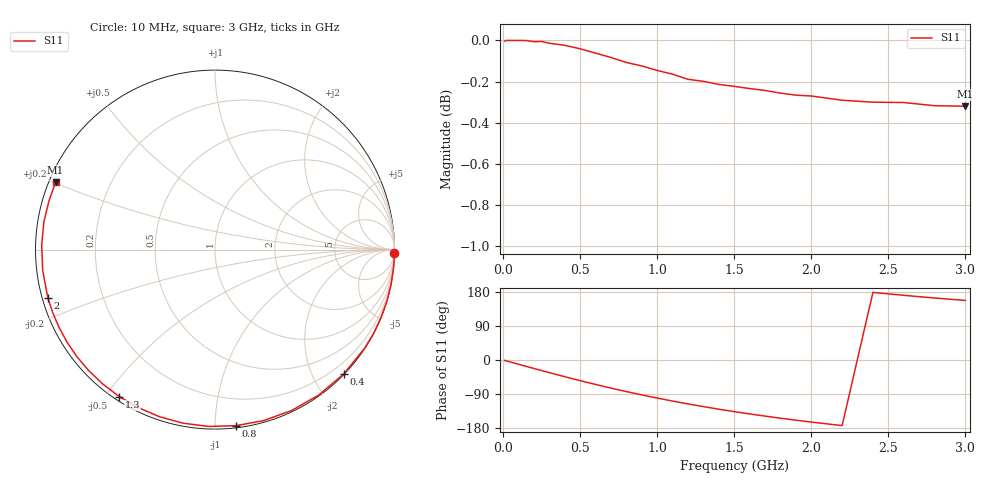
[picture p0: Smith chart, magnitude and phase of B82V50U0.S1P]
! SIEMENS Discrete & RF Semiconductors
! BBY53-03W
! Si Tuning Diode in SOD323
! VR = 2.5 V
! S-Parameters:  May  1997
# GHz  S  MA  R  50
!  f  S11
! GHz  MAG  ANG
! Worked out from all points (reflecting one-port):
!   30 points, 10 MHz to 3 GHz, reference 50 ohm
!   lowest |S11| = -0.3 dB at 3 GHz (marker M1), VSWR 54.33, Z = 0.958 + j10.1 ohm
!   phase of S11 starts at -1 deg and turns -202 deg over the sweep
!   S11 on the Smith chart (normalised r, x): 10 MHz: 2, -95; 400 MHz: 0.01, -2.47; 800 MHz: 0.01, -1.12; 1.3 GHz: 0.01, -0.54; 2 GHz: 0.02, -0.14; 3 GHz: 0.02, +0.20
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0.01  0.9996 -1.2
0.1  1 -11.2
0.15  1 -16.8
0.2  0.9993 -22.4
0.25  0.9994 -27.9
0.3  0.9984 -33.3
0.4  0.9973 -44.1
0.5  0.9953 -54.5
0.6  0.9929 -64.5
0.7  0.9905 -74.2
0.8  0.9877 -83.3
0.9  0.9858 -92.1
1  0.9834 -100.4
1.1  0.9813 -108.4
1.2  0.9785 -115.9
1.3  0.9774 -123.0
1.4  0.9757 -129.8
1.5  0.9746 -136.2
1.6  0.9734 -142.3
1.7  0.9724 -148.0
1.8  0.971 -153.6
1.9  0.9698 -158.8
2  0.9694 -163.8
2.2  0.9671 -173.1
2.4  0.966 178.4
2.6  0.9659 170.7
2.8  0.9641 163.6
3  0.9638 157.1
